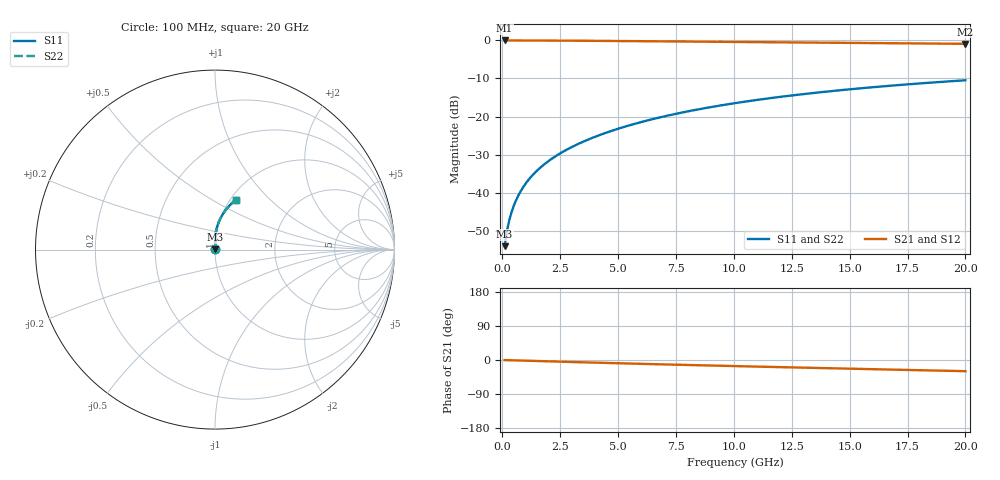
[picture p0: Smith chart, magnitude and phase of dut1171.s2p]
! Touchstone file exported from HFSS 2024.1.0
!  File:  C:/UserFiles/LocalFiles/RDL_TSV_Batchsim/temp_RDL_bottom_1171_1780056896.aedt
!  Generated:  08:17:13 PM May 29, 2026
!  Design:  RDL_bottom
!  Project:  temp_RDL_bottom_1171_1780056896
!  Setup:  Setup1
!  Solution:  Sweep
! Variables:
!  dtsv = 10.80580581um
!  hbump = 3um
!  htsv = 54.33um
!  ldown = 390.3um
!  lrdl = 100um
!  p = 40
!  p1 = 59.09um
!  rhole = 1um
!  t = 450um
!  tdown = 4.52um
!  trdl = 3.915915916um
!  wdown = 25.16um
!  wrdl = 20um
# GHz S MA R 50.000000
! Terminal data exported
! Port[1] = RDL1_T1
! Port[2] = RDL1_T2
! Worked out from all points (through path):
!   200 points, 100 MHz to 20 GHz, reference 50 ohm
!   highest |S21| = -0.01 dB at 100 MHz (marker M1); lowest = -0.9 dB at 20 GHz (marker M2)
!   group delay of S21, straight-line fit = 4.04 ps
!   lowest |S11| = -54.1 dB at 100 MHz (marker M3), VSWR 1.00, Z = 50.1 + j0.14 ohm
!   |S11| at or under -10 dB: start of sweep to end of sweep
!   |S22| runs from -54.1 to -10.5 dB; largest |S21 - S12| = 3e-15
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0.1  0.00198 45.0  0.9986 -0.2  0.9986 -0.2  0.00198 45.0
! Gamma 0 0 0 0
! Port Impedance 50 0 50 0
0.2  0.003119 61.7  0.9985 -0.4  0.9985 -0.4  0.003119 61.7
0.3  0.004329 69.0  0.9984 -0.6  0.9984 -0.6  0.004329 69.0
0.4  0.005548 73.2  0.9982 -0.7  0.9982 -0.7  0.005548 73.2
0.5  0.006774 76.1  0.9981 -0.9  0.9981 -0.9  0.006774 76.1
0.6  0.008009 78.2  0.998 -1.1  0.998 -1.1  0.008009 78.2
0.8  0.01051 81.0  0.9977 -1.4  0.9977 -1.4  0.01051 81.0
1.1  0.01431 83.7  0.9973 -2.0  0.9973 -2.0  0.01431 83.7
1.5  0.01947 85.7  0.9964 -2.7  0.9964 -2.7  0.01947 85.7
1.8  0.0234 86.7  0.9956 -3.2  0.9956 -3.2  0.0234 86.7
2.1  0.02739 87.4  0.9948 -3.7  0.9948 -3.7  0.02739 87.4
2.7  0.03555 88.3  0.9927 -4.8  0.9927 -4.8  0.03555 88.3
3.5  0.04681 88.9  0.9894 -6.1  0.9894 -6.1  0.04681 88.9
4.2  0.05703 89.0  0.9861 -7.3  0.9861 -7.3  0.05703 89.0
5  0.06908 88.7  0.9821 -8.6  0.9821 -8.6  0.06908 88.7
5.9  0.08304 88.1  0.9774 -10.0  0.9774 -10.0  0.08303 88.1
6.8  0.09731 87.2  0.9726 -11.4  0.9726 -11.4  0.09731 87.2
8.4  0.1231 85.1  0.964 -13.7  0.964 -13.7  0.1231 85.1
10.1  0.1507 82.6  0.955 -16.2  0.955 -16.2  0.1507 82.6
13.4  0.2032 77.5  0.9375 -20.8  0.9375 -20.8  0.2032 77.5
16.7  0.2531 72.3  0.9197 -25.2  0.9197 -25.2  0.2531 72.3
20  0.2995 67.4  0.9014 -29.5  0.9014 -29.5  0.2995 67.4
